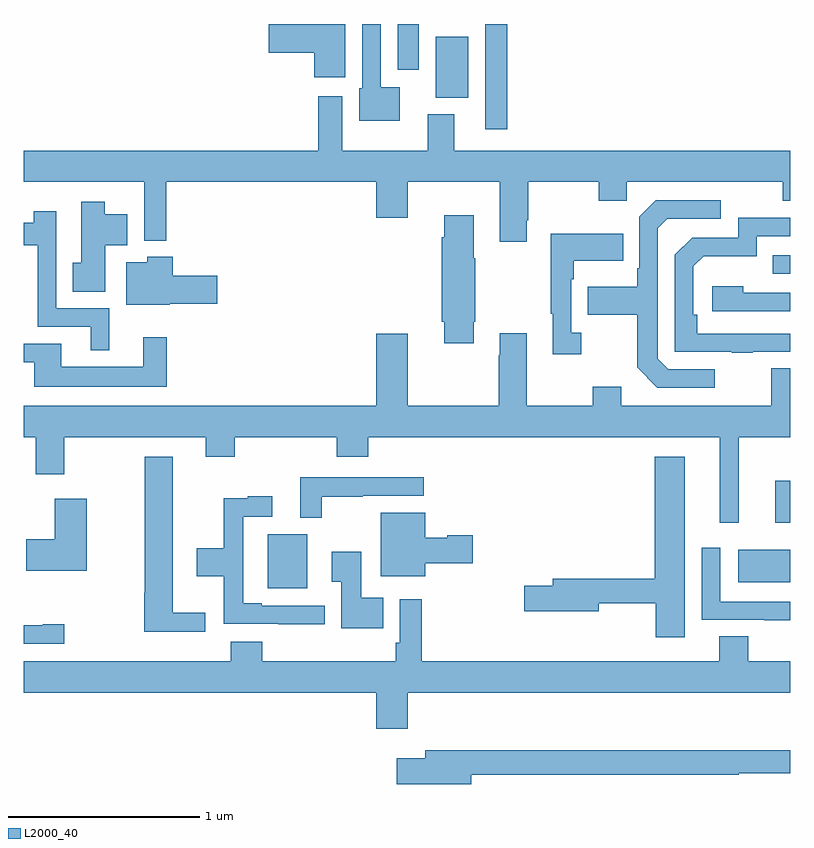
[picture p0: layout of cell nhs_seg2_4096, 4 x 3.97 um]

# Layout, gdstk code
import gdstk
lib = gdstk.Library(unit=1e-6, precision=1e-09)
def R(c, l, rs):  # rectangles x0, y0, x1, y1
    for r in rs: c.add(gdstk.rectangle(r[:2], r[2:], *l))
def P(c, l, *ps):  # polygons
    for p in ps: c.add(gdstk.Polygon(p, *l))
L2000_40 = (2000, 40)

nhs_seg2_4096 = lib.new_cell('nhs_seg2_4096')
R(nhs_seg2_4096, L2000_40, [(332.273,638.855,332.479,639.139), (334.727,638.888,335,639.058), (334.922,639.198,335,639.417), (334.909,640.497,335,640.593), (333.408,641.25,333.524,641.8), (333.149,641.414,333.319,641.734), (332.951,641.562,333.061,641.8)])
P(nhs_seg2_4096, L2000_40, [(332.677,641.8),(332.516,641.8),(332.516,641.798),(332.28,641.798),(332.28,641.651),(332.516,641.651),(332.516,641.523),(332.677,641.523)],
  [(332.962,641.47),(332.862,641.47),(332.862,641.8),(332.766,641.8),(332.766,641.466),(332.75,641.466),(332.75,641.294),(332.962,641.294)],
  [(333.625,640.777),(333.633,640.777),(333.633,640.976),(334,640.976),(334,640.877),(334.146,640.877),(334.146,640.976),(334.96,640.976),(334.96,640.877),(335,640.877),(335,641.14),(333.247,641.14),(333.247,641.329),(333.107,641.329),(333.107,641.14),(332.662,641.14),(332.662,641.422),(332.537,641.422),(332.537,641.14),(331,641.14),(331,640.976),(331.629,640.976),(331.629,640.67),(331.745,640.67),(331.745,640.976),(332.84,640.976),(332.84,640.788),(333.004,640.788),(333.004,640.976),(333.485,640.976),(333.485,640.665),(333.625,640.665)],
  [(334.606,639.999),(334.362,639.999),(334.308,640.053),(334.308,640.734),(334.359,640.785),(334.636,640.785),(334.636,640.881),(334.299,640.881),(334.212,640.794),(334.212,640.525),(334.2,640.525),(334.2,640.429),(333.943,640.429),(333.943,640.282),(334.2,640.282),(334.2,640.009),(334.305,639.903),(334.606,639.903)],
  [(331.426,640.646),(331.54,640.646),(331.54,640.807),(331.423,640.807),(331.423,640.873),(331.301,640.873),(331.301,640.554),(331.255,640.554),(331.255,640.402),(331.426,640.402)],
  [(331.447,640.317),(331.17,640.317),(331.17,640.822),(331.054,640.822),(331.054,640.763),(331,640.763),(331,640.645),(331.073,640.645),(331.073,640.221),(331.349,640.221),(331.349,640.097),(331.447,640.097)],
  [(333.349,640.246),(333.357,640.246),(333.357,640.577),(333.349,640.577),(333.349,640.801),(333.194,640.801),(333.194,640.688),(333.182,640.688),(333.182,640.246),(333.194,640.246),(333.194,640.134),(333.349,640.134)],
  [(334.805,640.089),(335,640.089),(335,640.185),(334.514,640.185),(334.514,640.282),(334.494,640.282),(334.494,640.536),(334.547,640.589),(334.824,640.589),(334.824,640.692),(335,640.692),(335,640.788),(334.728,640.788),(334.728,640.686),(334.488,640.686),(334.398,640.596),(334.398,640.089),(334.693,640.089),(334.693,640.084),(334.805,640.084)],
  [(333.91,640.19),(333.858,640.19),(333.858,640.469),(333.871,640.469),(333.871,640.565),(334.127,640.565),(334.127,640.705),(333.75,640.705),(333.75,640.289),(333.761,640.289),(333.761,640.077),(333.91,640.077)],
  [(331.761,640.34),(332.011,640.34),(332.011,640.487),(331.778,640.487),(331.778,640.585),(331.644,640.585),(331.644,640.558),(331.535,640.558),(331.535,640.334),(331.761,640.334)],
  [(335,640.398),(334.754,640.398),(334.754,640.432),(334.593,640.432),(334.593,640.302),(335,640.302)],
  [(334.73,639.644),(335,639.644),(335,640.003),(334.901,640.003),(334.901,639.808),(334.117,639.808),(334.117,639.907),(333.97,639.907),(333.97,639.808),(333.625,639.808),(333.625,640.186),(333.485,640.186),(333.485,640.073),(333.478,640.073),(333.478,639.808),(333.004,639.808),(333.004,640.183),(332.84,640.183),(332.84,639.808),(331,639.808),(331,639.644),(331.064,639.644),(331.064,639.45),(331.212,639.45),(331.212,639.644),(331.949,639.644),(331.949,639.542),(332.102,639.542),(332.102,639.644),(332.633,639.644),(332.633,639.542),(332.798,639.542),(332.798,639.644),(334.631,639.644),(334.631,639.198),(334.73,639.198)],
  [(331.747,640.165),(331.625,640.165),(331.625,640.012),(331.195,640.012),(331.195,640.131),(331,640.131),(331,640.035),(331.055,640.035),(331.055,639.908),(331.747,639.908)],
  [(334.45,639.541),(334.292,639.541),(334.292,638.906),(333.761,638.906),(333.761,638.87),(333.612,638.87),(333.612,638.735),(334,638.735),(334,638.778),(334.297,638.778),(334.297,638.601),(334.45,638.601)],
  [(331.948,638.729),(331.777,638.729),(331.777,639.541),(331.633,639.541),(331.633,638.834),(331.628,638.834),(331.628,638.63),(331.948,638.63)],
  [(332.554,639.334),(332.768,639.334),(332.768,639.339),(333.088,639.339),(333.088,639.435),(332.444,639.435),(332.444,639.224),(332.554,639.224)],
  [(332.572,638.766),(332.242,638.766),(332.242,638.779),(332.145,638.779),(332.145,639.228),(332.296,639.228),(332.296,639.337),(332.168,639.337),(332.168,639.326),(332.044,639.326),(332.044,639.066),(331.902,639.066),(331.902,638.918),(332.044,638.918),(332.044,638.67),(332.329,638.67),(332.329,638.669),(332.572,638.669)],
  [(331.329,639.322),(331.163,639.322),(331.163,639.111),(331.014,639.111),(331.014,638.948),(331.329,638.948)],
  [(333.094,638.987),(333.343,638.987),(333.343,639.134),(333.21,639.134),(333.21,639.121),(333.094,639.121),(333.094,639.25),(332.864,639.25),(332.864,638.918),(333.094,638.918)],
  [(335,638.787),(334.635,638.787),(334.635,639.067),(334.539,639.067),(334.539,638.691),(334.864,638.691),(334.864,638.69),(335,638.69)],
  [(332.876,638.806),(332.761,638.806),(332.761,639.046),(332.607,639.046),(332.607,638.89),(332.657,638.89),(332.657,638.648),(332.876,638.648)],
  [(333.004,638.312),(335,638.312),(335,638.476),(334.781,638.476),(334.781,638.606),(334.628,638.606),(334.628,638.476),(333.077,638.476),(333.077,638.8),(332.961,638.8),(332.961,638.572),(332.941,638.572),(332.941,638.476),(332.246,638.476),(332.246,638.578),(332.081,638.578),(332.081,638.476),(331,638.476),(331,638.312),(332.84,638.312),(332.84,638.124),(333.004,638.124)],
  [(331.213,638.669),(331.1,638.669),(331.1,638.664),(331,638.664),(331,638.568),(331.213,638.568)],
  [(333.334,637.882),(334.73,637.882),(334.73,637.89),(335,637.89),(335,638.011),(333.095,638.011),(333.095,637.969),(332.946,637.969),(332.946,637.835),(333.334,637.835)])

lib.write_gds('nhs_seg2_4096.gds')
